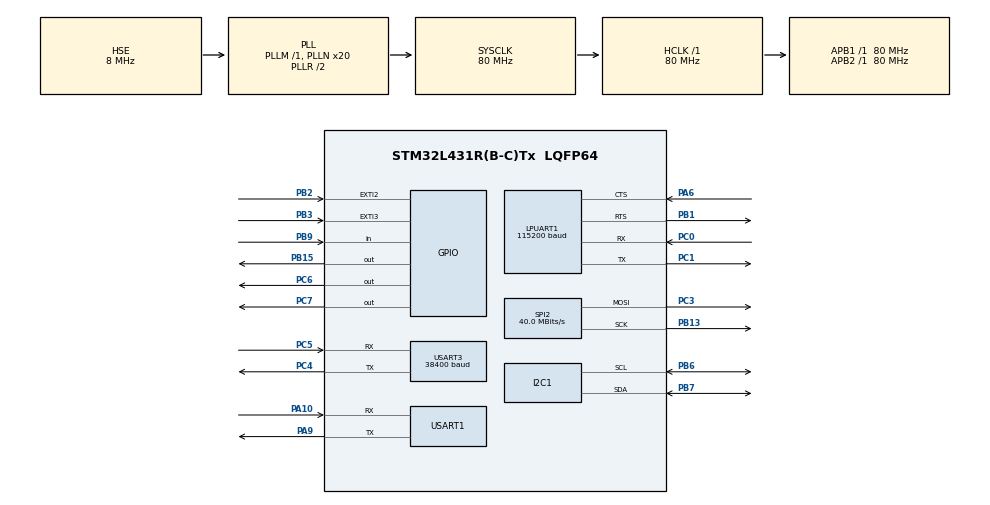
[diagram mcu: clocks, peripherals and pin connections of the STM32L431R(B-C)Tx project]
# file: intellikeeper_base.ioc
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Mcu.Family=STM32L4
NVIC.USART3_IRQn=true\:2\:0\:true\:false\:true\:true\:true
PC3.Mode=TX_Only_Simplex_Unidirect_Master
PA6.Mode=CTS_RTS
RCC.CortexFreq_Value=80000000
SPI2.VirtualType=VM_MASTER
NVIC.TIM6_DAC_IRQn=true\:2\:0\:true\:false\:true\:true\:true
PH0-OSC_IN\ (PH0).Signal=RCC_OSC_IN
NVIC.EXTI3_IRQn=true\:3\:0\:true\:false\:true\:true\:true
USART3.SwapParam=ADVFEATURE_SWAP_DISABLE
LPUART1.WordLength=UART_WORDLENGTH_8B
PC5.Mode=Asynchronous
PB13.Signal=SPI2_SCK
PB15.Signal=GPIO_Output
RCC.SYSCLKSource=RCC_SYSCLKSOURCE_PLLCLK
ProjectManager.StackSize=0x400
PB3\ (JTDO-TRACESWO).Signal=GPXTI3
USART3.VirtualMode-Asynchronous=VM_ASYNC
PA14\ (JTCK-SWCLK).Signal=SYS_JTCK-SWCLK
SPI2.CLKPolarity=SPI_POLARITY_HIGH
USART3.BaudRate=38400
TIM15.Prescaler=7900
NVIC.LPUART1_IRQn=true\:1\:0\:true\:false\:true\:true\:true
RCC.HCLKFreq_Value=80000000
RCC.APB2TimFreq_Value=80000000
PB6.Signal=I2C1_SCL
PC7.Signal=GPIO_Output
PB6.Mode=I2C
PC3.Signal=SPI2_MOSI
RCC.AHBFreq_Value=80000000
PH1-OSC_OUT\ (PH1).Mode=HSE-External-Oscillator
RCC.HSE_VALUE=8000000
PB2.Signal=GPXTI2
TIM15.Period=10000
SPI2.CalculateBaudRate=40.0 MBits/s
PB7.Signal=I2C1_SDA
TIM6.Period=1000
PB2.GPIO_PuPd=GPIO_PULLUP
PB9.Signal=GPIO_Input
Mcu.Package=LQFP64
PA6.Signal=LPUART1_CTS
PB1.Signal=LPUART1_RTS
SPI2.Mode=SPI_MODE_MASTER
PA10.Signal=USART1_RX
PB9.GPIO_PuPd=GPIO_PULLDOWN
PC6.GPIO_PuPd=GPIO_PULLDOWN
SPI2.CLKPhase=SPI_PHASE_2EDGE
NVIC.EXTI2_IRQn=true\:3\:0\:true\:false\:true\:true\:true
RCC.APB1TimFreq_Value=80000000
SPI2.Direction=SPI_DIRECTION_2LINES
PC5.Signal=USART3_RX
PB13.Mode=TX_Only_Simplex_Unidirect_Master
PA13\ (JTMS-SWDIO).Signal=SYS_JTMS-SWDIO
PH0-OSC_IN\ (PH0).Mode=HSE-External-Oscillator
PC4.Mode=Asynchronous
RCC.HSI48_VALUE=48000000
RCC.MSI_VALUE=4000000
RCC.PLLSourceVirtual=RCC_PLLSOURCE_HSE
PC7.GPIO_ModeDefaultOutputPP=GPIO_MODE_OUTPUT_PP
PA14\ (JTCK-SWCLK).Mode=Serial_Wire
PA10.Mode=Asynchronous
TIM6.Prescaler=79
PC4.Signal=USART3_TX
PC6.Signal=GPIO_Output
VP_TIM6_VS_ClockSourceINT.Mode=Enable_Timer
PC0.Signal=LPUART1_RX
PC5.GPIO_PuPd=GPIO_PULLUP
PB3\ (JTDO-TRACESWO).GPIO_PuPd=GPIO_PULLUP
PH1-OSC_OUT\ (PH1).Signal=RCC_OSC_OUT
PC0.Mode=Asynchronous
USART1.VirtualMode-Asynchronous=VM_ASYNC
LPUART1.OneBitSampling=UART_ONE_BIT_SAMPLE_ENABLE
PA9.Mode=Asynchronous
ProjectManager.TargetToolchain=SW4STM32
PA9.Signal=USART1_TX
I2C1.Timing=0x10909CEC
PC7.GPIO_PuPd=GPIO_PULLDOWN
RCC.LSE_VALUE=32768
NVIC.TIM1_BRK_TIM15_IRQn=true\:4\:0\:true\:false\:true\:true\:true
board=custom
RCC.VCOOutputFreq_Value=160000000
RCC.APB2Freq_Value=80000000
RCC.ADCFreq_Value=32000000
Mcu.Name=STM32L431R(B-C)Tx
LPUART1.BaudRate=115200
PA13\ (JTMS-SWDIO).Mode=Serial_Wire
RCC.SYSCLKFreq_VALUE=80000000
LPUART1.SwapParam=UART_ADVFEATURE_SWAP_DISABLE
PB7.Mode=I2C
VP_TIM15_VS_ClockSourceINT.Mode=Internal
ProjectManager.HeapSize=0x200
PB1.Mode=CTS_RTS
RCC.HSI_VALUE=16000000
NVIC.PriorityGroup=NVIC_PRIORITYGROUP_4
RCC.PLLN=20
SPI2.DataSize=SPI_DATASIZE_8BIT
RCC.APB1Freq_Value=80000000
PC1.Signal=LPUART1_TX
PC1.Mode=Asynchronous

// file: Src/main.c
/* USER CODE BEGIN Header */
/**
  ******************************************************************************
  * @file           : main.c
  * @brief          : Main program body
  ******************************************************************************
  * @attention
  *
  * <h2><center>&copy; Copyright (c) 2020 STMicroelectronics.
  * All rights reserved.</center></h2>
  *
  * This software component is licensed by ST under BSD 3-Clause license,
  * the "License"; You may not use this file except in compliance with the
  * License. You may obtain a copy of the License at:
  *                        opensource.org/licenses/BSD-3-Clause
  *
  ******************************************************************************
  */
/* USER CODE END Header */

#include "main.h"
#include "i2c.h"
#include "usart.h"
#include "spi.h"
#include "tim.h"
#include "gpio.h"

/* USER CODE BEGIN Includes */
#include "../Drivers/LCD/terminal.h"
#include "../Drivers/StreamIO/stream_io.h"
#include "../Drivers/Wifi/wifi.h"
#include "MQTTConnect.h"
#include "transport.h"
#include "../Drivers/MQTT/mqtt.h"
#include "../Drivers/Zigbee/zigbee.h"
#include <stdio.h>
#include <MQTTPacket.h>
/* USER CODE END Includes */

void SystemClock_Config(void);

int main(void)
{

  /* MCU Configuration--------------------------------------------------------*/

  /* Reset of all peripherals, Initializes the Flash interface and the Systick. */
  HAL_Init();

  /* Configure the system clock */
  SystemClock_Config();

  /* Initialize all configured peripherals */
  MX_GPIO_Init();
  MX_SPI2_Init();
  MX_USART1_UART_Init();
  MX_LPUART1_UART_Init();
  MX_USART3_UART_Init();
  MX_TIM6_Init();
  MX_I2C1_Init();
  MX_TIM15_Init();

  /* Infinite loop */
  /* USER CODE BEGIN WHILE */
 // Zigbee_Read_Config();
  Terminal_Initialize();
  //Zigbee_Listen();
    Zigbee_Init();
    Zigbee_Ping();
    Zigbee_Enable_Listen();

    Wifi_Start();
    Wifi_TCP_Connect("iot-mqtts.cn-north-4.myhuaweicloud.com", 1883);
    Mqtt_Connection_Config("5efb5427be7a7d02caca41a6_IK_0001", "5efb5427be7a7d02caca41a6_IK_0001_0_0_2018072417", "5efb5427be7a7d02caca41a6_IK_0001", "64961056fe2e2eadbd140a1a9b20109ee657f669d39f3aec73c3013be7295ede", 120);
    Mqtt_Client_Start();

  while (1)
  {
    /* USER CODE END WHILE */

    /* USER CODE BEGIN 3 */
    //Zigbee_SendData(0);

    HAL_Delay(1000);
  }
  /* USER CODE END 3 */
}

void SystemClock_Config(void)
{
  RCC_OscInitTypeDef RCC_OscInitStruct = {0};
  RCC_ClkInitTypeDef RCC_ClkInitStruct = {0};
  RCC_PeriphCLKInitTypeDef PeriphClkInit = {0};

  /** Initializes the CPU, AHB and APB busses clocks
  */
  RCC_OscInitStruct.OscillatorType = RCC_OSCILLATORTYPE_HSE;
  RCC_OscInitStruct.HSEState = RCC_HSE_ON;
  RCC_OscInitStruct.PLL.PLLState = RCC_PLL_ON;
  RCC_OscInitStruct.PLL.PLLSource = RCC_PLLSOURCE_HSE;
  RCC_OscInitStruct.PLL.PLLM = 1;
  RCC_OscInitStruct.PLL.PLLN = 20;
  RCC_OscInitStruct.PLL.PLLP = RCC_PLLP_DIV7;
  RCC_OscInitStruct.PLL.PLLQ = RCC_PLLQ_DIV2;
  RCC_OscInitStruct.PLL.PLLR = RCC_PLLR_DIV2;
  if (HAL_RCC_OscConfig(&RCC_OscInitStruct) != HAL_OK)
  {
    Error_Handler();
  }
  /** Initializes the CPU, AHB and APB busses clocks
  */
  RCC_ClkInitStruct.ClockType = RCC_CLOCKTYPE_HCLK|RCC_CLOCKTYPE_SYSCLK
                              |RCC_CLOCKTYPE_PCLK1|RCC_CLOCKTYPE_PCLK2;
  RCC_ClkInitStruct.SYSCLKSource = RCC_SYSCLKSOURCE_PLLCLK;
  RCC_ClkInitStruct.AHBCLKDivider = RCC_SYSCLK_DIV1;
  RCC_ClkInitStruct.APB1CLKDivider = RCC_HCLK_DIV1;
  RCC_ClkInitStruct.APB2CLKDivider = RCC_HCLK_DIV1;

  if (HAL_RCC_ClockConfig(&RCC_ClkInitStruct, FLASH_LATENCY_4) != HAL_OK)
  {
    Error_Handler();
  }
  PeriphClkInit.PeriphClockSelection = RCC_PERIPHCLK_USART1|RCC_PERIPHCLK_USART3
                              |RCC_PERIPHCLK_LPUART1|RCC_PERIPHCLK_I2C1;
  PeriphClkInit.Usart1ClockSelection = RCC_USART1CLKSOURCE_PCLK2;
  PeriphClkInit.Usart3ClockSelection = RCC_USART3CLKSOURCE_PCLK1;
  PeriphClkInit.Lpuart1ClockSelection = RCC_LPUART1CLKSOURCE_PCLK1;
  PeriphClkInit.I2c1ClockSelection = RCC_I2C1CLKSOURCE_PCLK1;
  if (HAL_RCCEx_PeriphCLKConfig(&PeriphClkInit) != HAL_OK)
  {
    Error_Handler();
  }
  /** Configure the main internal regulator output voltage
  */
  if (HAL_PWREx_ControlVoltageScaling(PWR_REGULATOR_VOLTAGE_SCALE1) != HAL_OK)
  {
    Error_Handler();
  }
}

void Error_Handler(void)
{
  /* USER CODE BEGIN Error_Handler_Debug */
  /* User can add his own implementation to report the HAL error return state */
    Lcd_Printf("hahahahaha");
  /* USER CODE END Error_Handler_Debug */
}

/************************ (C) COPYRIGHT STMicroelectronics *****END OF FILE****/
